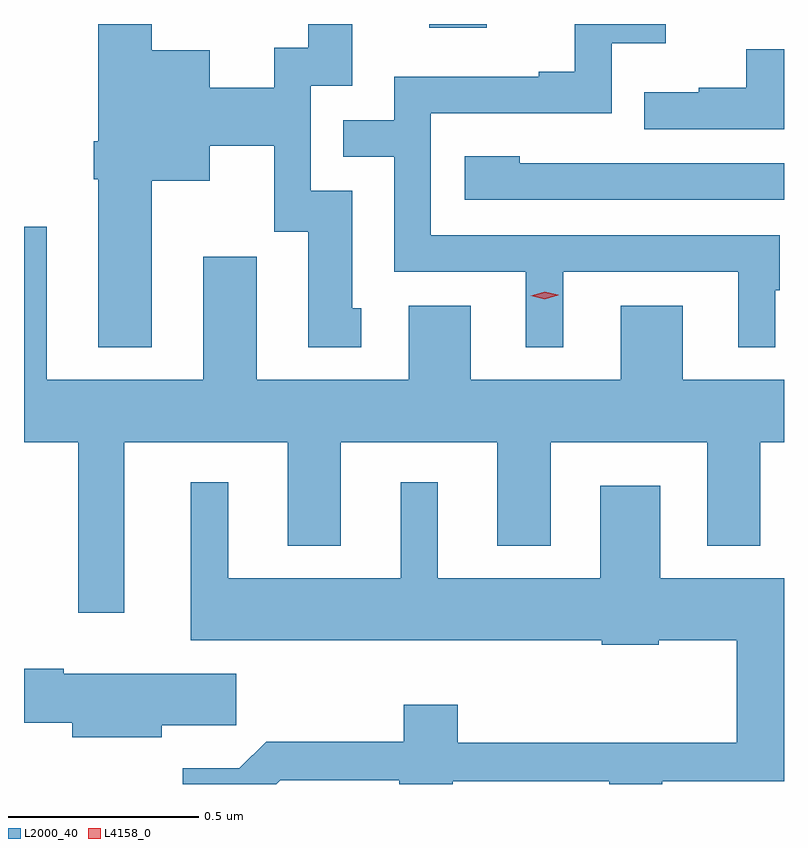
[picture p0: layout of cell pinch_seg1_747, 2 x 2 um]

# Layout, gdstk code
import gdstk
lib = gdstk.Library(unit=1e-6, precision=1e-09)
def R(c, l, rs):  # rectangles x0, y0, x1, y1
    for r in rs: c.add(gdstk.rectangle(r[:2], r[2:], *l))
def P(c, l, *ps):  # polygons
    for p in ps: c.add(gdstk.Polygon(p, *l))
L2000_40 = (2000, 40)
L4158_0 = (4158, 0)

pinch_seg1_747 = lib.new_cell('pinch_seg1_747')
R(pinch_seg1_747, L2000_40, [(674.015,526.182,674.167,526.192)])
P(pinch_seg1_747, L2000_40, [(674.368,525.54),(674.828,525.54),(674.828,525.341),(674.926,525.341),(674.926,525.492),(674.938,525.492),(674.938,525.636),(674.019,525.636),(674.019,525.957),(674.496,525.957),(674.496,526.142),(674.638,526.142),(674.638,526.192),(674.398,526.192),(674.398,526.066),(674.303,526.066),(674.303,526.053),(673.923,526.053),(673.923,525.939),(673.789,525.939),(673.789,525.843),(673.923,525.843),(673.923,525.54),(674.27,525.54),(674.27,525.341),(674.368,525.341)],
  [(673.285,525.779),(673.438,525.779),(673.438,525.872),(673.608,525.872),(673.608,525.645),(673.697,525.645),(673.697,525.342),(673.837,525.342),(673.837,525.444),(673.813,525.444),(673.813,525.753),(673.704,525.753),(673.704,526.029),(673.813,526.029),(673.813,526.192),(673.697,526.192),(673.697,526.13),(673.607,526.13),(673.607,526.024),(673.438,526.024),(673.438,526.123),(673.285,526.123),(673.285,526.192),(673.145,526.192),(673.145,525.883),(673.133,525.883),(673.133,525.783),(673.145,525.783),(673.145,525.341),(673.285,525.341)],
  [(674.949,526.125),(674.849,526.125),(674.849,526.024),(674.725,526.024),(674.725,526.012),(674.581,526.012),(674.581,525.915),(674.949,525.915)],
  [(674.949,525.825),(674.489,525.825),(674.489,525.826),(674.253,525.826),(674.253,525.844),(674.109,525.844),(674.109,525.729),(674.949,525.729)],
  [(673.213,525.092),(673.643,525.092),(673.643,524.819),(673.783,524.819),(673.783,525.092),(674.195,525.092),(674.195,524.819),(674.335,524.819),(674.335,525.092),(674.747,525.092),(674.747,524.819),(674.887,524.819),(674.887,525.092),(674.949,525.092),(674.949,525.256),(674.683,525.256),(674.683,525.451),(674.519,525.451),(674.519,525.256),(674.125,525.256),(674.125,525.451),(673.961,525.451),(673.961,525.256),(673.561,525.256),(673.561,525.58),(673.421,525.58),(673.421,525.256),(673.009,525.256),(673.009,525.658),(672.949,525.658),(672.949,525.092),(673.092,525.092),(673.092,524.643),(673.213,524.643)],
  [(673.623,524.202),(673.937,524.202),(673.937,524.192),(674.077,524.192),(674.077,524.199),(674.489,524.199),(674.489,524.192),(674.629,524.192),(674.629,524.199),(674.949,524.199),(674.949,524.734),(674.623,524.734),(674.623,524.977),(674.465,524.977),(674.465,524.734),(674.038,524.734),(674.038,524.986),(673.94,524.986),(673.94,524.734),(673.486,524.734),(673.486,524.986),(673.388,524.986),(673.388,524.57),(674.469,524.57),(674.469,524.558),(674.619,524.558),(674.619,524.57),(674.825,524.57),(674.825,524.3),(674.09,524.3),(674.09,524.401),(673.948,524.401),(673.948,524.303),(673.586,524.303),(673.516,524.233),(673.367,524.233),(673.367,524.192),(673.613,524.192)],
  [(673.312,524.347),(673.507,524.347),(673.507,524.482),(673.054,524.482),(673.054,524.495),(672.949,524.495),(672.949,524.353),(673.076,524.353),(673.076,524.315),(673.312,524.315)])
P(pinch_seg1_747, L4158_0, [(674.319,525.468),(674.283,525.477),(674.283,525.477),(674.283,525.477),(674.319,525.488),(674.355,525.479),(674.355,525.479),(674.355,525.478)])

lib.write_gds('pinch_seg1_747.gds')
